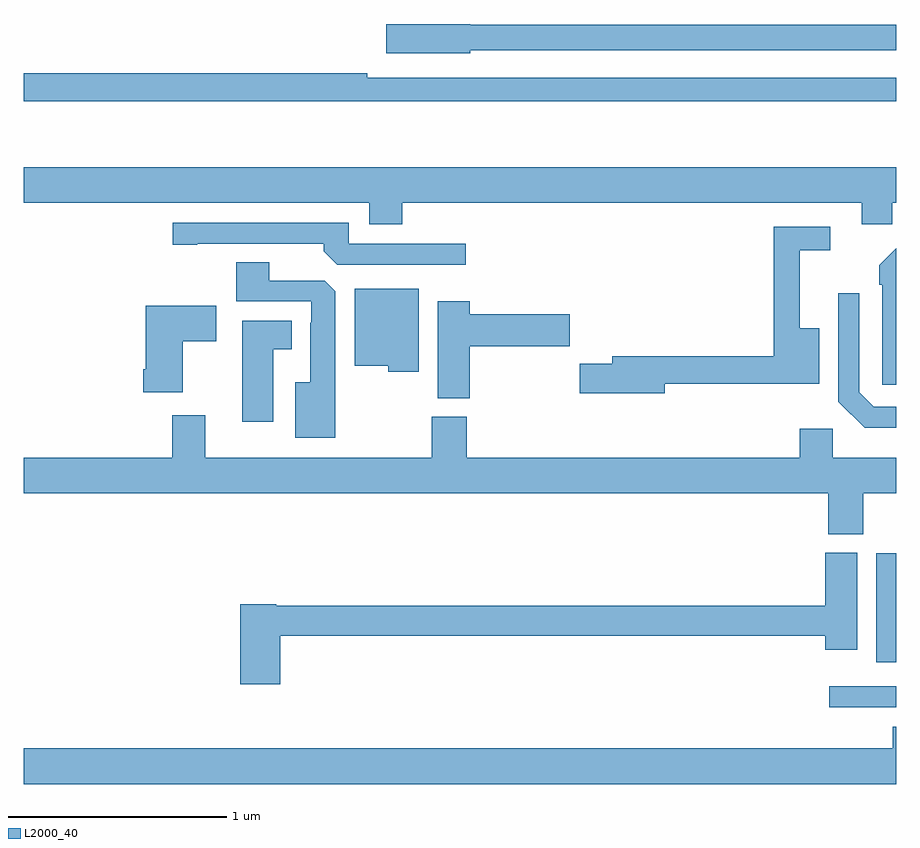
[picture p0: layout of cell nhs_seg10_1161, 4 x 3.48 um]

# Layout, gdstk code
import gdstk
lib = gdstk.Library(unit=1e-6, precision=1e-09)
def R(c, l, rs):  # rectangles x0, y0, x1, y1
    for r in rs: c.add(gdstk.rectangle(r[:2], r[2:], *l))
def P(c, l, *ps):  # polygons
    for p in ps: c.add(gdstk.Polygon(p, *l))
L2000_40 = (2000, 40)

nhs_seg10_1161 = lib.new_cell('nhs_seg10_1161')
R(nhs_seg10_1161, L2000_40, [(174.693,1267.368,175,1267.464), (174.908,1267.574,175,1268.074)])
P(nhs_seg10_1161, L2000_40, [(173.046,1270.38),(175,1270.38),(175,1270.496),(173.046,1270.496),(173.046,1270.5),(172.662,1270.5),(172.662,1270.367),(173.046,1270.367)],
  [(175,1270.254),(172.574,1270.254),(172.574,1270.274),(171,1270.274),(171,1270.146),(175,1270.146)],
  [(172.736,1269.68),(174.842,1269.68),(174.842,1269.582),(174.981,1269.582),(174.981,1269.68),(175,1269.68),(175,1269.844),(171,1269.844),(171,1269.68),(172.583,1269.68),(172.583,1269.581),(172.736,1269.581)],
  [(173.026,1269.492),(172.491,1269.492),(172.491,1269.588),(171.684,1269.588),(171.684,1269.487),(171.796,1269.487),(171.796,1269.492),(172.376,1269.492),(172.376,1269.458),(172.437,1269.396),(173.026,1269.396)],
  [(173.938,1268.85),(174.646,1268.85),(174.646,1269.106),(174.557,1269.106),(174.557,1269.462),(174.697,1269.462),(174.697,1269.57),(174.439,1269.57),(174.439,1268.978),(173.699,1268.978),(173.699,1268.942),(173.55,1268.942),(173.55,1268.807),(173.938,1268.807)],
  [(175,1269.472),(174.921,1269.393),(174.921,1269.305),(174.936,1269.305),(174.936,1268.847),(175,1268.847)],
  [(172.429,1269.275),(172.38,1269.324),(172.126,1269.324),(172.126,1269.407),(171.974,1269.407),(171.974,1269.228),(172.317,1269.228),(172.317,1269.131),(172.313,1269.131),(172.313,1268.857),(172.244,1268.857),(172.244,1268.603),(172.429,1268.603)],
  [(172.81,1269.286),(172.517,1269.286),(172.517,1268.933),(172.671,1268.933),(172.671,1268.906),(172.81,1268.906)],
  [(175,1268.745),(174.897,1268.745),(174.831,1268.811),(174.831,1269.265),(174.735,1269.265),(174.735,1268.769),(174.856,1268.648),(175,1268.648)],
  [(173.045,1269.023),(173.503,1269.023),(173.503,1269.17),(173.045,1269.17),(173.045,1269.229),(172.898,1269.229),(172.898,1268.785),(173.045,1268.785)],
  [(171.73,1269.046),(171.883,1269.046),(171.883,1269.208),(171.56,1269.208),(171.56,1268.917),(171.548,1268.917),(171.548,1268.813),(171.73,1268.813)],
  [(172.144,1269.008),(172.228,1269.008),(172.228,1269.139),(172.001,1269.139),(172.001,1268.676),(172.144,1268.676)],
  [(174.849,1268.348),(175,1268.348),(175,1268.512),(174.708,1268.512),(174.708,1268.644),(174.557,1268.644),(174.557,1268.512),(173.03,1268.512),(173.03,1268.7),(172.87,1268.7),(172.87,1268.512),(171.832,1268.512),(171.832,1268.707),(171.68,1268.707),(171.68,1268.512),(171,1268.512),(171,1268.348),(174.689,1268.348),(174.689,1268.161),(174.849,1268.161)],
  [(172.175,1267.696),(174.674,1267.696),(174.674,1267.632),(174.82,1267.632),(174.82,1268.076),(174.674,1268.076),(174.674,1267.832),(172.158,1267.832),(172.158,1267.84),(171.992,1267.84),(171.992,1267.473),(172.175,1267.473)],
  [(175,1267.279),(174.983,1267.279),(174.983,1267.18),(171,1267.18),(171,1267.016),(175,1267.016)])

lib.write_gds('nhs_seg10_1161.gds')
